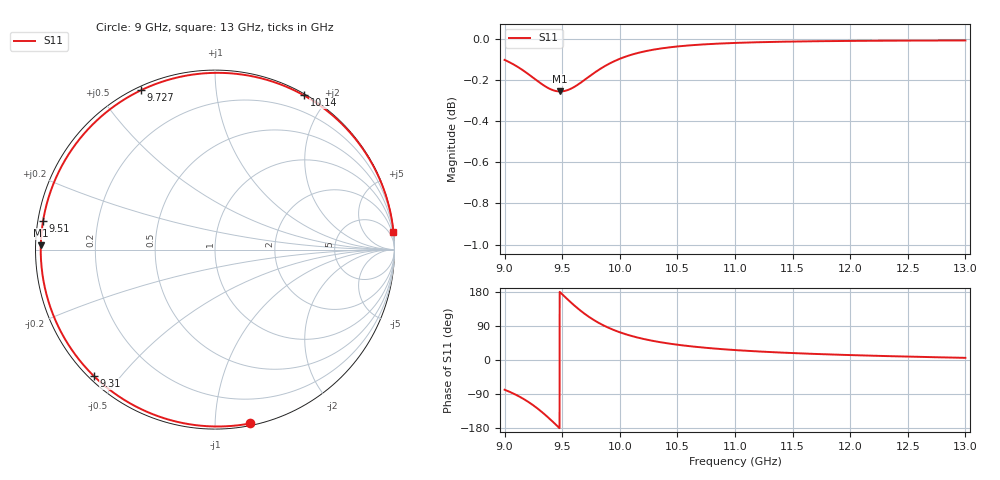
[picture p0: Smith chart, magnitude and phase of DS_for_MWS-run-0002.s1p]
! TOUCHSTONE file generated by CST DESIGN STUDIO
! Date and time: Tue Feb  4 12:41:10 2025
! Project name: C:\Work\MatlabApps\UnitCellOptimizationMatlab\CST\unitcell.cst
! Tree item: Tasks\Sweep1\SPara1\S-Parameters
! Header version: 2024
! Port assignment regex: !\s*Touchstone port\s*([0-9]+)\s*=\s*(CST MWS port|CST DES external port|CST DES block port)\s*(.+)\s* \(\"(.*)\"\)(\s*mode\s*([0-9]+))?.*
! Touchstone port assignment:
! Touchstone port 1 = CST DES external port 1 ("")
# GHz S MA R 50
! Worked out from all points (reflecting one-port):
!   4001 points, 9 GHz to 13 GHz, reference 50 ohm
!   lowest |S11| = -0.3 dB at 9.482 GHz (marker M1), VSWR 67.99, Z = 0.735 + j0.597 ohm
!   phase of S11 starts at -78 deg and turns -276 deg over the sweep
!   S11 on the Smith chart (normalised r, x): 9 GHz: 0.01, -1.22; 9.31 GHz: 0.01, -0.43; 9.51 GHz: 0.01, +0.08; 9.727 GHz: 0.02, +0.64; 10.14 GHz: 0.02, +1.73; 13 GHz: 0, +20
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9  0.9883 -78.5
9.078  0.9858 -88.8
9.176  0.9819 -104.9
9.245  0.9787 -118.7
9.31  0.9756 -133.8
9.355  0.9737 -145.4
9.403  0.9721 -158.6
9.443  0.9713 -170.0
9.482  0.971 178.6
9.5  0.9711 173.4
9.51  0.9712 170.5
9.562  0.9721 155.6
9.622  0.9741 139.5
9.674  0.9764 126.7
9.727  0.9788 114.9
9.782  0.9813 104.1
9.843  0.9839 93.7
9.92  0.9866 82.6
10  0.9889 73.2
10.144  0.992 60.0
10.305  0.9941 49.5
10.5  0.9958 40.3
10.722  0.9969 32.9
11  0.9977 26.2
11.5  0.9985 18.3
12  0.9989 13.0
12.5  0.9991 9.0
13  0.9991 5.7
